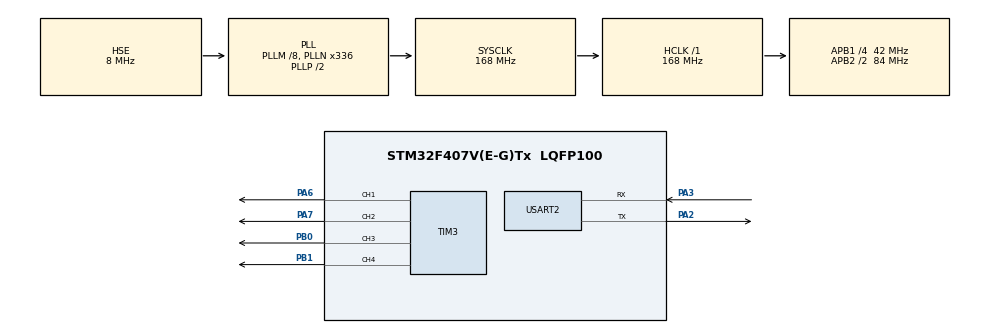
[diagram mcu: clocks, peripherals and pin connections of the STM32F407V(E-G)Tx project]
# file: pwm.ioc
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Mcu.Family=STM32F4
Mcu.Name=STM32F407V(E-G)Tx
Mcu.Package=LQFP100
NVIC.PriorityGroup=NVIC_PRIORITYGROUP_0
PA13.Mode=Serial_Wire
PA13.Signal=SYS_JTMS-SWDIO
PA14.Mode=Serial_Wire
PA14.Signal=SYS_JTCK-SWCLK
PA2.Mode=Asynchronous
PA2.Signal=USART2_TX
PA3.Mode=Asynchronous
PA3.Signal=USART2_RX
PA6.Signal=S_TIM3_CH1
PA7.Signal=S_TIM3_CH2
PB0.Signal=S_TIM3_CH3
PB1.Signal=S_TIM3_CH4
PC14-OSC32_IN.Mode=LSE-External-Oscillator
PC14-OSC32_IN.Signal=RCC_OSC32_IN
PC15-OSC32_OUT.Mode=LSE-External-Oscillator
PC15-OSC32_OUT.Signal=RCC_OSC32_OUT
PH0-OSC_IN.Mode=HSE-External-Oscillator
PH0-OSC_IN.Signal=RCC_OSC_IN
PH1-OSC_OUT.Mode=HSE-External-Oscillator
PH1-OSC_OUT.Signal=RCC_OSC_OUT
ProjectManager.HeapSize=0x200
ProjectManager.StackSize=0x400
ProjectManager.TargetToolchain=MDK-ARM V5
RCC.48MHZClocksFreq_Value=48000000
RCC.AHBFreq_Value=168000000
RCC.APB1CLKDivider=RCC_HCLK_DIV4
RCC.APB1Freq_Value=42000000
RCC.APB1TimFreq_Value=84000000
RCC.APB2CLKDivider=RCC_HCLK_DIV2
RCC.APB2Freq_Value=84000000
RCC.APB2TimFreq_Value=168000000
RCC.CortexFreq_Value=168000000
RCC.HCLKFreq_Value=168000000
RCC.HSE_VALUE=8000000
RCC.HSI_VALUE=16000000
RCC.PLLM=8
RCC.PLLN=336
RCC.PLLQ=7
RCC.PLLSourceVirtual=RCC_PLLSOURCE_HSE
RCC.SYSCLKFreq_VALUE=168000000
RCC.SYSCLKSource=RCC_SYSCLKSOURCE_PLLCLK
RCC.VCOOutputFreq_Value=336000000
SH.S_TIM3_CH1.0=TIM3_CH1,PWM Generation1 CH1
SH.S_TIM3_CH2.0=TIM3_CH2,PWM Generation2 CH2
SH.S_TIM3_CH3.0=TIM3_CH3,PWM Generation3 CH3
SH.S_TIM3_CH4.0=TIM3_CH4,PWM Generation4 CH4
TIM3.Channel-PWM\ Generation1\ CH1=TIM_CHANNEL_1
TIM3.Channel-PWM\ Generation2\ CH2=TIM_CHANNEL_2
TIM3.Channel-PWM\ Generation3\ CH3=TIM_CHANNEL_3
TIM3.Channel-PWM\ Generation4\ CH4=TIM_CHANNEL_4
USART2.VirtualMode=VM_ASYNC
board=STM32F4DISCOVERY

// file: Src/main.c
/**
  ******************************************************************************
  * @file           : main.c
  * @brief          : Main program body
  ******************************************************************************
  ** This notice applies to any and all portions of this file
  * that are not between comment pairs USER CODE BEGIN and
  * USER CODE END. Other portions of this file, whether
  * inserted by the user or by software development tools
  * are owned by their respective copyright owners.
  *
  * COPYRIGHT(c) 2019 STMicroelectronics
  *
  * Redistribution and use in source and binary forms, with or without modification,
  * are permitted provided that the following conditions are met:
  *   1. Redistributions of source code must retain the above copyright notice,
  *      this list of conditions and the following disclaimer.
  *   2. Redistributions in binary form must reproduce the above copyright notice,
  *      this list of conditions and the following disclaimer in the documentation
  *      and/or other materials provided with the distribution.
  *   3. Neither the name of STMicroelectronics nor the names of its contributors
  *      may be used to endorse or promote products derived from this software
  *      without specific prior written permission.
  *
  * THIS SOFTWARE IS PROVIDED BY THE COPYRIGHT HOLDERS AND CONTRIBUTORS "AS IS"
  * AND ANY EXPRESS OR IMPLIED WARRANTIES, INCLUDING, BUT NOT LIMITED TO, THE
  * IMPLIED WARRANTIES OF MERCHANTABILITY AND FITNESS FOR A PARTICULAR PURPOSE ARE
  * DISCLAIMED. IN NO EVENT SHALL THE COPYRIGHT HOLDER OR CONTRIBUTORS BE LIABLE
  * FOR ANY DIRECT, INDIRECT, INCIDENTAL, SPECIAL, EXEMPLARY, OR CONSEQUENTIAL
  * DAMAGES (INCLUDING, BUT NOT LIMITED TO, PROCUREMENT OF SUBSTITUTE GOODS OR
  * SERVICES; LOSS OF USE, DATA, OR PROFITS; OR BUSINESS INTERRUPTION) HOWEVER
  * CAUSED AND ON ANY THEORY OF LIABILITY, WHETHER IN CONTRACT, STRICT LIABILITY,
  * OR TORT (INCLUDING NEGLIGENCE OR OTHERWISE) ARISING IN ANY WAY OUT OF THE USE
  * OF THIS SOFTWARE, EVEN IF ADVISED OF THE POSSIBILITY OF SUCH DAMAGE.
  *
  ******************************************************************************
  */
#include "main.h"
#include "stm32f4xx_hal.h"

/* USER CODE BEGIN Includes */
#define M1_PULSE TIM3->CCR1
#define M2_PULSE TIM3->CCR2
#define M3_PULSE TIM3->CCR3
#define M4_PULSE TIM3->CCR4

/* USER CODE END Includes */

TIM_HandleTypeDef htim3;

UART_HandleTypeDef huart2;

/* USER CODE BEGIN PV */
/* Private variables ---------------------------------------------------------*/
int val;
/* USER CODE END PV */

void SystemClock_Config(void);
static void MX_GPIO_Init(void);
static void MX_TIM3_Init(void);
static void MX_USART2_UART_Init(void);
void HAL_TIM_MspPostInit(TIM_HandleTypeDef *htim);

/* USER CODE BEGIN PFP */
/* Private function prototypes -----------------------------------------------*/

/* USER CODE END PFP */

int main(void)
{

  /* MCU Configuration----------------------------------------------------------*/

  /* Reset of all peripherals, Initializes the Flash interface and the Systick. */
  HAL_Init();

  /* Configure the system clock */
  SystemClock_Config();

  /* Initialize all configured peripherals */
  MX_GPIO_Init();
  MX_TIM3_Init();
  MX_USART2_UART_Init();

  /* Infinite loop */
	while (1)
  {
		HAL_TIM_PWM_Start(&htim3,TIM_CHANNEL_1);
		M1_PULSE = val;//1500;
		//M2_PULSE = val;
		//M3_PULSE = val;
		//M4_PULSE = val;
  }

}

void SystemClock_Config(void)
{

  RCC_OscInitTypeDef RCC_OscInitStruct;
  RCC_ClkInitTypeDef RCC_ClkInitStruct;

    /**Configure the main internal regulator output voltage
    */
  __HAL_RCC_PWR_CLK_ENABLE();

  __HAL_PWR_VOLTAGESCALING_CONFIG(PWR_REGULATOR_VOLTAGE_SCALE1);

    /**Initializes the CPU, AHB and APB busses clocks
    */
  RCC_OscInitStruct.OscillatorType = RCC_OSCILLATORTYPE_HSE;
  RCC_OscInitStruct.HSEState = RCC_HSE_ON;
  RCC_OscInitStruct.PLL.PLLState = RCC_PLL_ON;
  RCC_OscInitStruct.PLL.PLLSource = RCC_PLLSOURCE_HSE;
  RCC_OscInitStruct.PLL.PLLM = 8;
  RCC_OscInitStruct.PLL.PLLN = 336;
  RCC_OscInitStruct.PLL.PLLP = RCC_PLLP_DIV2;
  RCC_OscInitStruct.PLL.PLLQ = 7;
  if (HAL_RCC_OscConfig(&RCC_OscInitStruct) != HAL_OK)
  {
    _Error_Handler(__FILE__, __LINE__);
  }

    /**Initializes the CPU, AHB and APB busses clocks
    */
  RCC_ClkInitStruct.ClockType = RCC_CLOCKTYPE_HCLK|RCC_CLOCKTYPE_SYSCLK
                              |RCC_CLOCKTYPE_PCLK1|RCC_CLOCKTYPE_PCLK2;
  RCC_ClkInitStruct.SYSCLKSource = RCC_SYSCLKSOURCE_PLLCLK;
  RCC_ClkInitStruct.AHBCLKDivider = RCC_SYSCLK_DIV1;
  RCC_ClkInitStruct.APB1CLKDivider = RCC_HCLK_DIV4;
  RCC_ClkInitStruct.APB2CLKDivider = RCC_HCLK_DIV2;

  if (HAL_RCC_ClockConfig(&RCC_ClkInitStruct, FLASH_LATENCY_5) != HAL_OK)
  {
    _Error_Handler(__FILE__, __LINE__);
  }

    /**Configure the Systick interrupt time
    */
  HAL_SYSTICK_Config(HAL_RCC_GetHCLKFreq()/1000);

    /**Configure the Systick
    */
  HAL_SYSTICK_CLKSourceConfig(SYSTICK_CLKSOURCE_HCLK);

  /* SysTick_IRQn interrupt configuration */
  HAL_NVIC_SetPriority(SysTick_IRQn, 0, 0);
}

/* TIM3 init function */
static void MX_TIM3_Init(void)
{

  TIM_MasterConfigTypeDef sMasterConfig;
  TIM_OC_InitTypeDef sConfigOC;

  htim3.Instance = TIM3;
  htim3.Init.Prescaler = 179;
  htim3.Init.CounterMode = TIM_COUNTERMODE_UP;
  htim3.Init.Period = 2499;
  htim3.Init.ClockDivision = TIM_CLOCKDIVISION_DIV1;
	htim3.Init.RepetitionCounter = 0;
  if (HAL_TIM_PWM_Init(&htim3) != HAL_OK)
  {
    _Error_Handler(__FILE__, __LINE__);
  }

  sMasterConfig.MasterOutputTrigger = TIM_TRGO_RESET;
  sMasterConfig.MasterSlaveMode = TIM_MASTERSLAVEMODE_DISABLE;
  if (HAL_TIMEx_MasterConfigSynchronization(&htim3, &sMasterConfig) != HAL_OK)
  {
    _Error_Handler(__FILE__, __LINE__);
  }

  sConfigOC.OCMode = TIM_OCMODE_PWM1;
  sConfigOC.Pulse = 1000;
  sConfigOC.OCPolarity = TIM_OCPOLARITY_HIGH;
	sConfigOC.OCNPolarity = TIM_OCNPOLARITY_HIGH;
  sConfigOC.OCFastMode = TIM_OCFAST_DISABLE;
  sConfigOC.OCIdleState = TIM_OCIDLESTATE_RESET;
  sConfigOC.OCNIdleState = TIM_OCNIDLESTATE_RESET;
  if (HAL_TIM_PWM_ConfigChannel(&htim3, &sConfigOC, TIM_CHANNEL_1) != HAL_OK)
  {
    _Error_Handler(__FILE__, __LINE__);
  }

  if (HAL_TIM_PWM_ConfigChannel(&htim3, &sConfigOC, TIM_CHANNEL_2) != HAL_OK)
  {
    _Error_Handler(__FILE__, __LINE__);
  }

  if (HAL_TIM_PWM_ConfigChannel(&htim3, &sConfigOC, TIM_CHANNEL_3) != HAL_OK)
  {
    _Error_Handler(__FILE__, __LINE__);
  }

  if (HAL_TIM_PWM_ConfigChannel(&htim3, &sConfigOC, TIM_CHANNEL_4) != HAL_OK)
  {
    _Error_Handler(__FILE__, __LINE__);
  }

  HAL_TIM_MspPostInit(&htim3);

}

/* USART2 init function */
static void MX_USART2_UART_Init(void)
{

  huart2.Instance = USART2;
  huart2.Init.BaudRate = 115200;
  huart2.Init.WordLength = UART_WORDLENGTH_8B;
  huart2.Init.StopBits = UART_STOPBITS_1;
  huart2.Init.Parity = UART_PARITY_NONE;
  huart2.Init.Mode = UART_MODE_TX_RX;
  huart2.Init.HwFlowCtl = UART_HWCONTROL_NONE;
  huart2.Init.OverSampling = UART_OVERSAMPLING_16;
  if (HAL_UART_Init(&huart2) != HAL_OK)
  {
    _Error_Handler(__FILE__, __LINE__);
  }

}

/** Configure pins as
        * Analog
        * Input
        * Output
        * EVENT_OUT
        * EXTI
*/
static void MX_GPIO_Init(void)
{

  /* GPIO Ports Clock Enable */
  __HAL_RCC_GPIOC_CLK_ENABLE();
  __HAL_RCC_GPIOH_CLK_ENABLE();
  __HAL_RCC_GPIOA_CLK_ENABLE();
  __HAL_RCC_GPIOB_CLK_ENABLE();

}

/* USER CODE BEGIN 4 */
void setPWM(TIM_HandleTypeDef timer, uint32_t channel, uint16_t period, uint16_t pulse)
{
 HAL_TIM_PWM_Stop(&timer, channel); // stop generation of pwm
 TIM_OC_InitTypeDef sConfigOC;
 timer.Init.Period = period; // set the period duration
 HAL_TIM_PWM_Init(&timer); // reinititialise with new period value
 sConfigOC.OCMode = TIM_OCMODE_PWM1;
 sConfigOC.Pulse = pulse; // set the pulse duration
 sConfigOC.OCPolarity = TIM_OCPOLARITY_HIGH;
 sConfigOC.OCFastMode = TIM_OCFAST_DISABLE;
 HAL_TIM_PWM_ConfigChannel(&timer, &sConfigOC, channel);
 HAL_TIM_PWM_Start(&timer, channel); // start pwm generation
}
/* USER CODE END 4 */

void _Error_Handler(char *file, int line)
{
  while(1)
  {
  }
}

/************************ (C) COPYRIGHT STMicroelectronics *****END OF FILE****/
